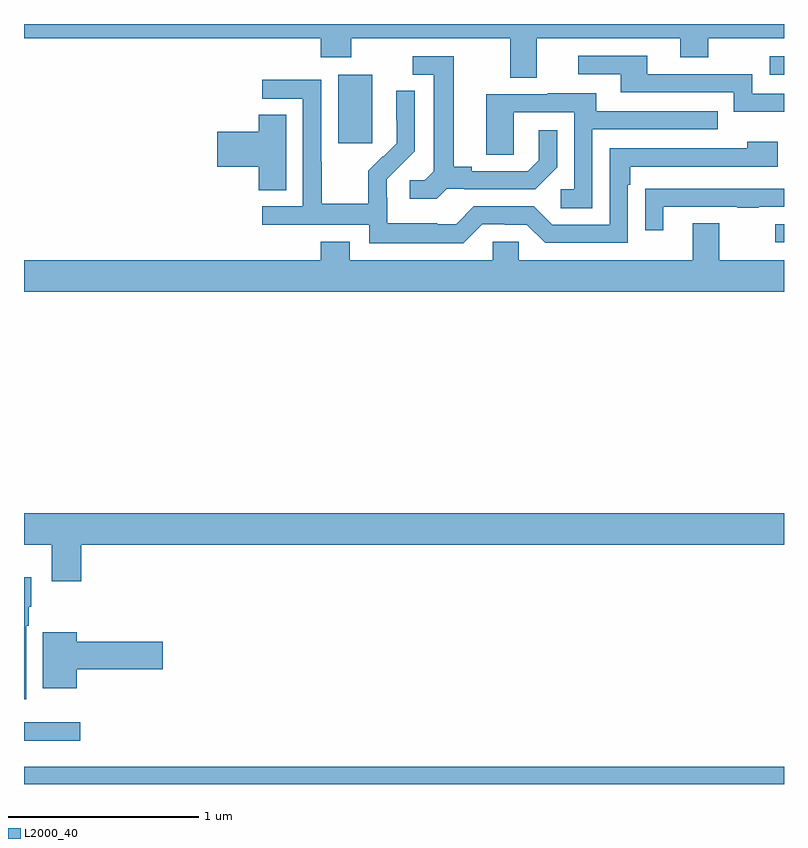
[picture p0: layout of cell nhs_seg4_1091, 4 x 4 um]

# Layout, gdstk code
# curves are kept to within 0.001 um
import gdstk
lib = gdstk.Library(unit=1e-6, precision=1e-09)
def R(c, l, rs):  # rectangles x0, y0, x1, y1
    for r in rs: c.add(gdstk.rectangle(r[:2], r[2:], *l))
def P(c, l, *ps):  # polygons
    for p in ps: c.add(gdstk.Polygon(p, *l))
L2000_40 = (2000, 40)

nhs_seg4_1091 = lib.new_cell('nhs_seg4_1091')
R(nhs_seg4_1091, L2000_40, [(167,788.9,171,788.992), (167,789.128,167.296,789.225), (170.955,791.751,171,791.847), (168.653,792.273,168.832,792.634), (170.925,792.633,171,792.729)])
P(nhs_seg4_1091, L2000_40, [(169.699,792.824),(170.453,792.824),(170.453,792.725),(170.601,792.725),(170.601,792.824),(171,792.824),(171,792.9),(167,792.9),(167,792.824),(168.563,792.824),(168.563,792.725),(168.723,792.725),(168.723,792.824),(169.559,792.824),(169.559,792.616),(169.699,792.616)],
  [(171,792.534),(170.832,792.534),(170.832,792.636),(170.281,792.636),(170.281,792.732),(169.917,792.732),(169.917,792.636),(170.141,792.636),(170.141,792.54),(170.736,792.54),(170.736,792.437),(171,792.437)],
  [(169.224,792.033),(169.318,792.033),(169.318,792.03),(169.69,792.03),(169.806,792.146),(169.806,792.34),(169.709,792.34),(169.709,792.183),(169.652,792.126),(169.357,792.126),(169.357,792.149),(169.261,792.149),(169.261,792.729),(169.047,792.729),(169.047,792.633),(169.157,792.633),(169.157,792.125),(169.11,792.078),(169.029,792.078),(169.029,791.981),(169.172,791.981)],
  [(169.413,791.847),(169.529,791.847),(169.529,791.844),(169.647,791.844),(169.743,791.748),(170.178,791.748),(170.178,792.053),(170.191,792.053),(170.191,792.15),(170.968,792.15),(170.968,792.28),(170.807,792.28),(170.807,792.246),(170.082,792.246),(170.082,791.844),(169.779,791.844),(169.683,791.94),(169.368,791.94),(169.275,791.847),(169.175,791.847),(169.175,791.851),(168.912,791.851),(168.912,791.985),(168.91,791.985),(168.91,792.082),(169.056,792.23),(169.056,792.548),(168.96,792.548),(168.96,792.394),(168.962,792.394),(168.962,792.272),(168.891,792.201),(168.888,792.204),(168.811,792.127),(168.811,791.953),(168.567,791.953),(168.567,792.176),(168.564,792.176),(168.564,792.606),(168.255,792.606),(168.255,792.507),(168.468,792.507),(168.468,791.94),(168.255,791.94),(168.255,791.844),(168.816,791.844),(168.816,791.747),(169.313,791.747)],
  [(169.992,792.345),(170.651,792.345),(170.651,792.441),(170.011,792.441),(170.011,792.535),(169.757,792.535),(169.757,792.531),(169.433,792.531),(169.433,792.211),(169.578,792.211),(169.578,792.435),(169.896,792.435),(169.896,792.03),(169.824,792.03),(169.824,791.929),(169.992,791.929)],
  [(168.379,792.422),(168.236,792.422),(168.236,792.332),(168.018,792.332),(168.018,792.149),(168.236,792.149),(168.236,792.025),(168.379,792.025)],
  [(170.365,791.937),(170.755,791.937),(170.755,791.932),(170.867,791.932),(170.867,791.937),(171,791.937),(171,792.033),(170.371,792.033),(170.371,792.032),(170.269,792.032),(170.269,791.814),(170.365,791.814)],
  [(171,791.656),(170.659,791.656),(170.659,791.851),(170.519,791.851),(170.519,791.656),(169.605,791.656),(169.605,791.754),(169.467,791.754),(169.467,791.656),(168.715,791.656),(168.715,791.755),(168.563,791.755),(168.563,791.656),(167,791.656),(167,791.492),(171,791.492)],
  [(167.3,790.16),(171,790.16),(171,790.324),(167,790.324),(167,790.16),(167.147,790.16),(167.147,789.966),(167.3,789.966)],
  [(167.011,789.734),(167.026,789.734),(167.026,789.834),(167.038,789.834),(167.038,789.988),(167,789.988),(167,789.345),(167.011,789.345)],
  [(167.278,789.503),(167.731,789.503),(167.731,789.65),(167.278,789.65),(167.278,789.7),(167.099,789.7),(167.099,789.404),(167.278,789.404)])

lib.write_gds('nhs_seg4_1091.gds')
